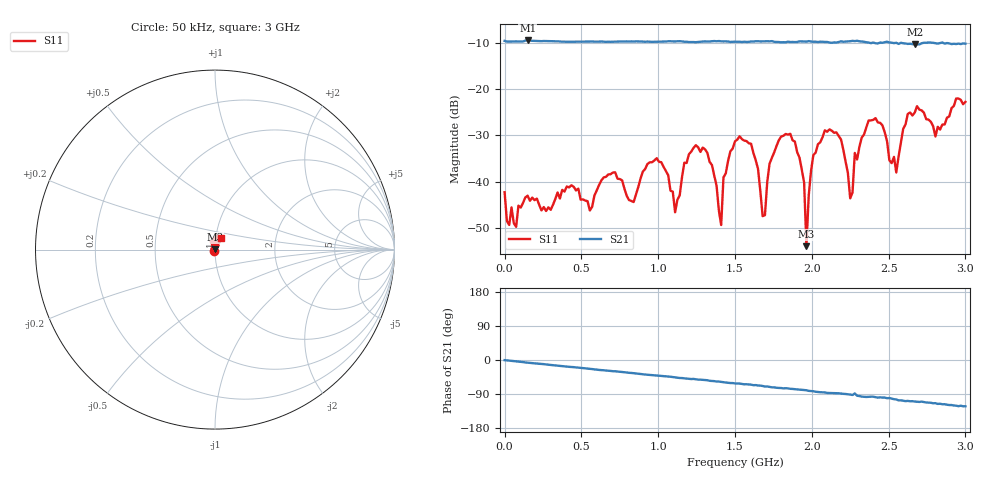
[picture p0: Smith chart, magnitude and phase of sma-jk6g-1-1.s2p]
!File created by NanoVNA-F V2
# Hz S RI R 50
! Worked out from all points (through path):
!   201 points, 50 kHz to 3 GHz, reference 50 ohm
!   highest |S21| = -9.50 dB at 150 MHz (marker M1); lowest = -10.4 dB at 2.67 GHz (marker M2)
!   group delay of S21, straight-line fit = 113 ps
!   lowest |S11| = -53.9 dB at 1.965 GHz (marker M3), VSWR 1.00, Z = 50.1 + j0.191 ohm
!   |S11| at or under -10 dB: start of sweep to end of sweep
!   S12 and S22 are empty: the file has one direction only
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50000  -0.0047 -0.00613  0.3317 -0.00202  0 0  0 0
7.504875e7  -0.00325 -0.000312  0.3265 -0.0202  0 0  0 0
1.500475e8  -0.00607 0.00364  0.3325 -0.0413  0 0  0 0
5.100415e8  0.000505 0.00644  0.3036 -0.1191  0 0  0 0
1.005033e9  0.00255 0.0162  0.2443 -0.2131  0 0  0 0
1.110032e9  -0.001 0.00458  0.2274 -0.2353  0 0  0 0
1.305028e9  0.00694 0.0213  0.1981 -0.2604  0 0  0 0
1.410026e9  -0.000887 0.0033  0.1747 -0.2776  0 0  0 0
1.425026e9  -0.00577 0.00956  0.1694 -0.2797  0 0  0 0
1.500025e9  -0.0104 0.0253  0.1534 -0.2865  0 0  0 0
1.605023e9  0.0126 0.0224  0.1378 -0.2962  0 0  0 0
1.680022e9  -3.8e-05 0.00426  0.1194 -0.3044  0 0  0 0
1.860019e9  0.00946 0.0316  0.0777 -0.3125  0 0  0 0
1.950018e9  0.00752 0.00631  0.0606 -0.3209  0 0  0 0
1.965017e9  0.000657 0.00191  0.0575 -0.3201  0 0  0 0
2.010016e9  -0.0142 0.0132  0.0428 -0.3218  0 0  0 0
2.160014e9  0.0151 0.0306  0.014 -0.3179  0 0  0 0
2.250012e9  0.00369 0.00552  -0.00665 -0.3283  0 0  0 0
2.41501e9  -0.00173 0.0486  -0.0442 -0.3094  0 0  0 0
2.505008e9  0.00882 0.0146  -0.0572 -0.313  0 0  0 0
2.670006e9  -0.00232 0.0557  -0.1017 -0.2857  0 0  0 0
3e9  0.0327 0.0651  -0.1642 -0.2618  0 0  0 0
